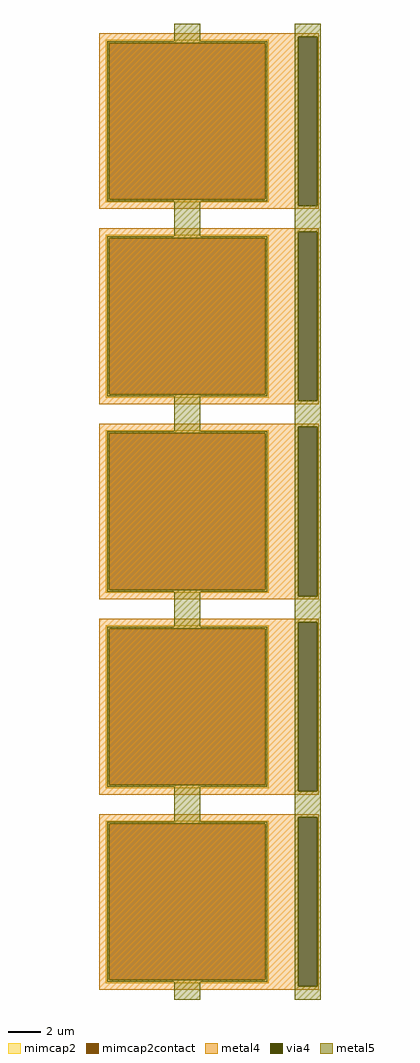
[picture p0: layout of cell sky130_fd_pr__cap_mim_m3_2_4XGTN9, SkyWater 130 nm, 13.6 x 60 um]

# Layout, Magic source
magic
tech sky130A
magscale 1 2
<< metal4 >>
rect -1349 5839 1349 5880
rect -1349 3761 1093 5839
rect 1329 3761 1349 5839
rect -1349 3720 1349 3761
rect -1349 3439 1349 3480
rect -1349 1361 1093 3439
rect 1329 1361 1349 3439
rect -1349 1320 1349 1361
rect -1349 1039 1349 1080
rect -1349 -1039 1093 1039
rect 1329 -1039 1349 1039
rect -1349 -1080 1349 -1039
rect -1349 -1361 1349 -1320
rect -1349 -3439 1093 -1361
rect 1329 -3439 1349 -1361
rect -1349 -3480 1349 -3439
rect -1349 -3761 1349 -3720
rect -1349 -5839 1093 -3761
rect 1329 -5839 1349 -3761
rect -1349 -5880 1349 -5839
<< via4 >>
rect 1093 3761 1329 5839
rect 1093 1361 1329 3439
rect 1093 -1039 1329 1039
rect 1093 -3439 1329 -1361
rect 1093 -5839 1329 -3761
<< mimcap2 >>
rect -1269 5760 731 5800
rect -1269 3840 -1229 5760
rect 691 3840 731 5760
rect -1269 3800 731 3840
rect -1269 3360 731 3400
rect -1269 1440 -1229 3360
rect 691 1440 731 3360
rect -1269 1400 731 1440
rect -1269 960 731 1000
rect -1269 -960 -1229 960
rect 691 -960 731 960
rect -1269 -1000 731 -960
rect -1269 -1440 731 -1400
rect -1269 -3360 -1229 -1440
rect 691 -3360 731 -1440
rect -1269 -3400 731 -3360
rect -1269 -3840 731 -3800
rect -1269 -5760 -1229 -3840
rect 691 -5760 731 -3840
rect -1269 -5800 731 -5760
<< mimcap2contact >>
rect -1229 3840 691 5760
rect -1229 1440 691 3360
rect -1229 -960 691 960
rect -1229 -3360 691 -1440
rect -1229 -5760 691 -3840
<< metal5 >>
rect -429 5784 -109 6000
rect 1051 5839 1371 6000
rect -1253 5760 715 5784
rect -1253 3840 -1229 5760
rect 691 3840 715 5760
rect -1253 3816 715 3840
rect -429 3384 -109 3816
rect 1051 3761 1093 5839
rect 1329 3761 1371 5839
rect 1051 3439 1371 3761
rect -1253 3360 715 3384
rect -1253 1440 -1229 3360
rect 691 1440 715 3360
rect -1253 1416 715 1440
rect -429 984 -109 1416
rect 1051 1361 1093 3439
rect 1329 1361 1371 3439
rect 1051 1039 1371 1361
rect -1253 960 715 984
rect -1253 -960 -1229 960
rect 691 -960 715 960
rect -1253 -984 715 -960
rect -429 -1416 -109 -984
rect 1051 -1039 1093 1039
rect 1329 -1039 1371 1039
rect 1051 -1361 1371 -1039
rect -1253 -1440 715 -1416
rect -1253 -3360 -1229 -1440
rect 691 -3360 715 -1440
rect -1253 -3384 715 -3360
rect -429 -3816 -109 -3384
rect 1051 -3439 1093 -1361
rect 1329 -3439 1371 -1361
rect 1051 -3761 1371 -3439
rect -1253 -3840 715 -3816
rect -1253 -5760 -1229 -3840
rect 691 -5760 715 -3840
rect -1253 -5784 715 -5760
rect -429 -6000 -109 -5784
rect 1051 -5839 1093 -3761
rect 1329 -5839 1371 -3761
rect 1051 -6000 1371 -5839
<< properties >>
string FIXED_BBOX -1349 3720 811 5880
string gencell sky130_fd_pr__cap_mim_m3_2
string library sky130
string parameters w 10.0 l 10.0 val 207.6 carea 2.00 cperi 0.19 nx 1 ny 5 dummy 0 square 0 lmin 2.00 wmin 2.00 lmax 30.0 wmax 30.0 dc 0 bconnect 1 tconnect 1 ccov 100
<< end >>
